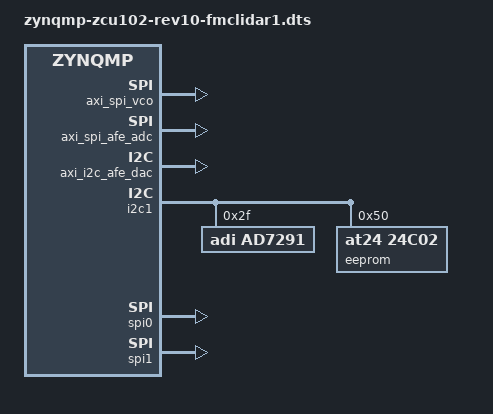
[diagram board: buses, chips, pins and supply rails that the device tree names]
// SPDX-License-Identifier: GPL-2.0
/*
 * Prototyping platform for LiDAR applications
 * Link: https://wiki.analog.com/resources/eval/user-guides/ad-fmclidar1-ebz
 *
 * hdl_project: <ad_fmclidar1_ebz/zcu102>
 * board_revision: <B>
 *
 * Copyright 2019 Analog Devices Inc.
 */
/dts-v1/;

#include "zynqmp-zcu102-rev1.0.dts"
#include <dt-bindings/interrupt-controller/irq.h>
#include <dt-bindings/jesd204/adxcvr.h>´

&i2c1 {
	i2c-mux@75 {
 		i2c@0 { /* HPC0 */
 			#address-cells = <1>;
 			#size-cells = <0>;
 			reg = <0>;
 			/* HPC0_IIC */
 			ad7291@2f {
 				compatible = "adi,ad7291";
				reg = <0x2f>;
 			};

 			eeprom@50 {
 				compatible = "at24,24c02";
 				reg = <0x50>;
 			};

 		};
	};
};

/ {
	fpga_axi: fpga-axi@0 {
		interrupt-parent = <&gic>;
		compatible = "simple-bus";
		#address-cells = <0x1>;
		#size-cells = <0x1>;
		ranges = <0 0 0 0xffffffff>;

		axi_spi_vco: axi_quad_spi@9c500000 {
			reg = <0x9c500000 0x10000>;
			compatible = "xlnx,xps-spi-2.00.a";
			bits-per-word = <8>;
			clock-names = "ext_spi_clk", "s_axi_aclk";
			clocks = <&zynqmp_clk 71>, <&zynqmp_clk 71>;
			fifo-size = <16>;
			interrupt-names = "ip2intc_irpt";
			interrupt-parent = <&gic>;
			interrupts = <0 106 IRQ_TYPE_EDGE_RISING>;
			num-cs = <0x1>;
			xlnx,num-ss-bits = <0x1>;
			xlnx,spi-mode = <0>;
			#address-cells = <1>;
			#size-cells = <0>;
		};

		axi_spi_afe_adc: axi_quad_spi@9c600000 {
			reg = <0x9c600000 0x10000>;
			compatible = "xlnx,xps-spi-2.00.a";
			bits-per-word = <8>;
			clock-names = "ext_spi_clk", "s_axi_aclk";
			clocks = <&zynqmp_clk 71>, <&zynqmp_clk 71>;
			fifo-size = <16>;
			interrupt-names = "ip2intc_irpt";
			interrupt-parent = <&gic>;
			interrupts = <0 105 IRQ_TYPE_EDGE_RISING>;
			num-cs = <0x1>;
			xlnx,num-ss-bits = <0x1>;
			xlnx,spi-mode = <0>;
			#address-cells = <1>;
			#size-cells = <0>;
		};

		axi_i2c_afe_dac: i2c@9c800000 {
			#address-cells = <1>;
			#size-cells = <0>;
			clock-names = "s_axi_aclk";
			clocks = <&zynqmp_clk 71>;
			compatible = "xlnx,axi-iic-2.0", "xlnx,xps-iic-2.00.a";
			interrupt-names = "iic2intc_irpt";
			interrupt-parent = <&gic>;
			interrupts = <0 108 IRQ_TYPE_LEVEL_HIGH>;
			reg = <0x9c800000 0x1000>;
		};

		axi_ad9094_adxcvr: axi-adxcvr-rx@84a50000 {
			compatible = "adi,axi-adxcvr-1.0";
			reg = <0x84a50000 0x1000>;

			clocks = <&ad9528 3>;
			clock-names = "conv";

			#clock-cells = <1>;
			clock-output-names = "adc_gt_clk", "rx_out_clk";

			adi,sys-clk-select = <XCVR_QPLL>;
			adi,out-clk-select = <XCVR_REFCLK>;
			adi,use-lpm-enable;
		};

		axi_ad9094_rx_jesd: axi-jesd204-rx@84aa0000 {
			compatible = "adi,axi-jesd204-rx-1.0";
			reg = <0x84aa0000 0x1000>;

			interrupts = <0 107 IRQ_TYPE_LEVEL_HIGH>;

			clocks = <&zynqmp_clk 71>, <&ad9528 4>, <&axi_ad9094_adxcvr 0>;
			clock-names = "s_axi_aclk", "device_clk", "lane_clk";

			adi,octets-per-frame = <1>;
			adi,frames-per-multiframe = <32>;
			adi,converter-resolution = <8>;
			adi,bits-per-sample = <8>;
			adi,converters-per-device = <2>;
			adi,subclass = <1>;

			#clock-cells = <0>;
			clock-output-names = "jesd_adc_lane_clk";
		};

		axi_pulse_capture: axi-pulse-capture@9c700000 {
			compatible = "adi,axi-pulse-capture-1.00.a";
			reg = <0x9c700000 0x10000>;
			interrupts = <0 104 4>;
			clocks = <&axi_ad9094_adxcvr 1>;
		};

		rx_dma: rx-dmac@9c400000 {
			compatible = "adi,axi-dmac-1.00.a";
			reg = <0x9c400000 0x10000>;
			#dma-cells = <1>;
			interrupts = <0 109 IRQ_TYPE_LEVEL_HIGH>;
			clocks = <&zynqmp_clk 71>;

			adi,channels {
				#size-cells = <0>;
				#address-cells = <1>;

				dma-channel@0 {
					reg = <0>;
					adi,source-bus-width = <256>;
					adi,source-bus-type = <2>;
					adi,destination-bus-width = <64>;
					adi,destination-bus-type = <0>;
				};
			};
		};

		axi_ad9094_core: axi-ad9094-hpc@84a10000 {
			compatible = "adi,axi-ad9694-1.0";
			reg = <0x84a10000 0x10000>;
			dmas = <&rx_dma 0>;
			dma-names = "rx";
			spibus-connected = <&ad9094>;
			adi,axi-additional-channel-available;
		};

		axi_sysid: axi-sysid@85000000 {
			compatible = "adi,axi-sysid-1.00.a";
			reg = <0x85000000 0x10000>;
		};
	};
};

&spi0 {
	status = "okay";
};

&spi1 {
	status = "okay";
};

#define spi_vco		axi_spi_vco
#define spi_clkgen	spi1
#define spi_adc		spi0
#define spi_afe_adc	axi_spi_afe_adc
#define i2c_afe_dac	axi_i2c_afe_dac

#include "adi-fmclidar1.dtsi"

&ad7091 {
	convst-gpios = <&gpio 115 0>;
};
